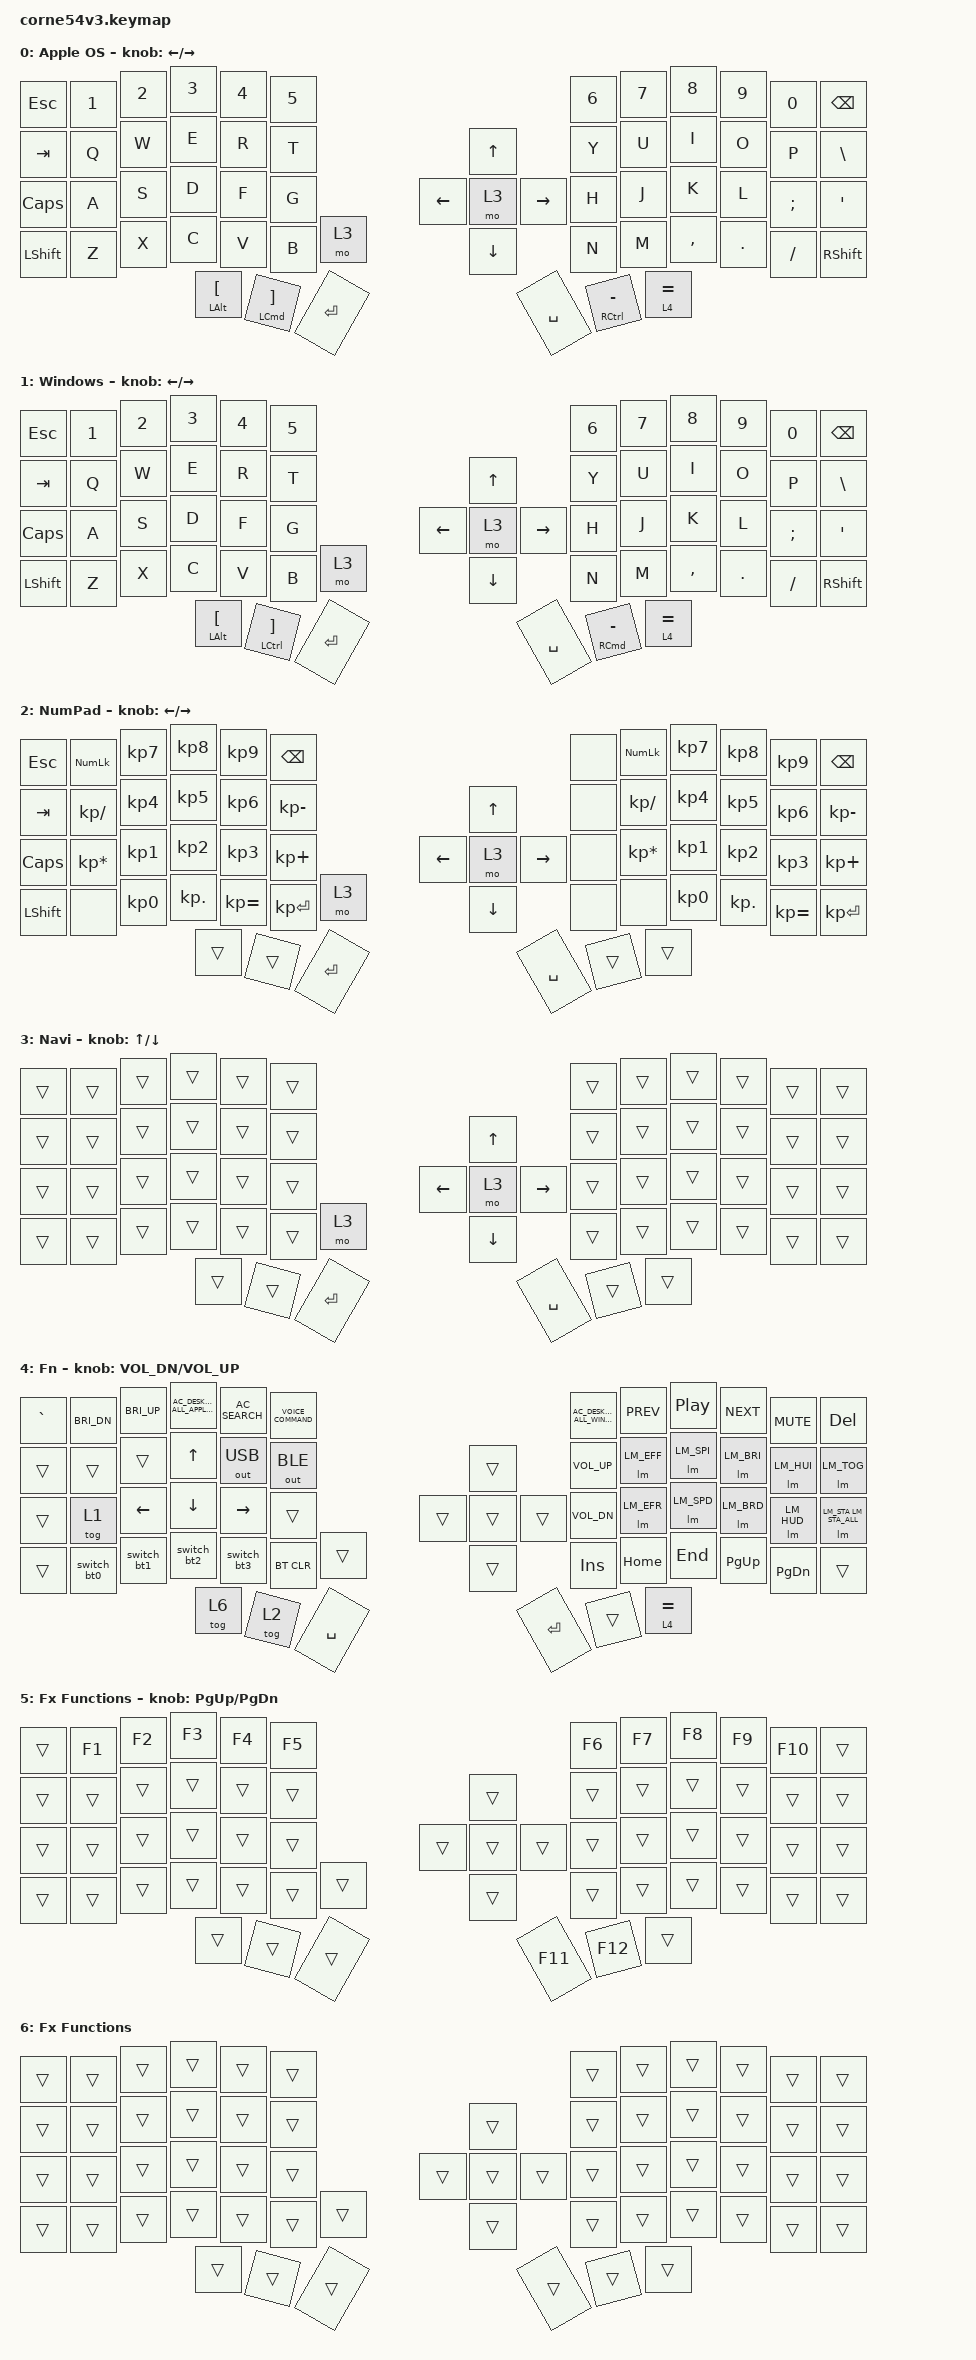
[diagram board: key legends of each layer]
#include <behaviors.dtsi>
#include <dt-bindings/zmk/keys.h>
#include <dt-bindings/zmk/bt.h>
#include <dt-bindings/zmk/led_matrix.h>
#include <dt-bindings/zmk/backlight.h>
#include <dt-bindings/zmk/outputs.h>

&mt {
    tapping-term-ms = <200>;
};

&lt {
    tapping-term-ms = <200>;
};

&kscan0 {
    debounce-press-ms = <5>;
    debounce-release-ms = <5>;
};

/ {

    /*
    behaviors {
        htlk: hold_tap_layer_key {
            compatible = "zmk,behavior-hold-tap";
            #binding-cells = <2>;
            tapping-term-ms = <200>;
            flavor = "tap-preferred";
            bindings = <&mo>, <&kp>;
        };
    };
    */

    conditional_layers {
        compatible = "zmk,conditional-layers";
        tri_layer {
            if-layers = <4 6>;
            then-layer = <5>;
        };
    };

    behaviors {
        tog_on: toggle_layer_on_only {
            compatible = "zmk,behavior-toggle-layer";
            #binding-cells = <1>;
            display-name = "Toggle Layer On";
            toggle-mode = "on";
        };

        tog_off: toggle_layer_off_only {
            compatible = "zmk,behavior-toggle-layer";
            #binding-cells = <1>;
            display-name = "Toggle Layer Off";
            toggle-mode = "off";
        };
    };

    macros {
        m_w_zoom_in: w_zoom_in_macro {
            compatible = "zmk,behavior-macro";
            #binding-cells = <0>;
            bindings =
                <&macro_press &kp LCTRL>,
                <&macro_tap &kp MINUS>,
                <&macro_release &kp LCTRL>;
        };

        m_w_zoom_out: w_zoom_out_macro {
            compatible = "zmk,behavior-macro";
            #binding-cells = <0>;
            bindings =
                <&macro_press &kp LCTRL>,
                <&macro_tap &kp EQUAL>,
                <&macro_release &kp LCTRL>;
        };

        m_zoom_in: zoom_in_macro {
            compatible = "zmk,behavior-macro";
            #binding-cells = <0>;
            bindings =
                <&macro_press &kp LCMD>,
                <&macro_tap &kp MINUS>,
                <&macro_release &kp LCMD>;
        };

        m_zoom_out: zoom_out_macro {
            compatible = "zmk,behavior-macro";
            #binding-cells = <0>;
            bindings =
                <&macro_press &kp LCMD>,
                <&macro_tap &kp EQUAL>,
                <&macro_release &kp LCMD>;
        };

        switch_bt0: switch_to_bt_profile_0 {
            compatible = "zmk,behavior-macro";
            #binding-cells = <0>;
            bindings = <&bt BT_SEL 0>, <&tog_off 1>;
        };

        switch_bt1: switch_to_bt_profile_1 {
            compatible = "zmk,behavior-macro";
            #binding-cells = <0>;
            bindings = <&bt BT_SEL 1>, <&tog_on 1>;
        };

        switch_bt2: switch_to_bt_profile_2 {
            compatible = "zmk,behavior-macro";
            #binding-cells = <0>;
            bindings = <&bt BT_SEL 2>, <&tog_off 1>;
        };

        switch_bt3: switch_to_bt_profile_3 {
            compatible = "zmk,behavior-macro";
            #binding-cells = <0>;
            bindings = <&bt BT_SEL 3>, <&tog_on 1>;
        };

        switch_bt4: switch_to_bt_profile_4 {
            compatible = "zmk,behavior-macro";
            #binding-cells = <0>;
            bindings = <&bt BT_SEL 4>, <&tog_off 1>;
        };
    };

    behaviors {
        zoom_in_out: rotate_zoom_in_out {
            compatible = "zmk,behavior-sensor-rotate";
            #sensor-binding-cells = <0>;
            bindings =
                <&m_zoom_in>,
                <&m_zoom_out>;
        };

        w_zoom_in_out: rotate_w_zoom_in_out {
            compatible = "zmk,behavior-sensor-rotate";
            #sensor-binding-cells = <0>;
            bindings =
                <&m_w_zoom_in>,
                <&m_w_zoom_out>;
        };
    };

    behaviors {
        gresc: grave_escape {
            compatible = "zmk,behavior-mod-morph";
            #binding-cells = <0>;
            bindings = <&kp ESC>, <&kp GRAVE>;
            mods = <(MOD_LSFT | MOD_RSFT)>;
        };
    };

    keymap {
        compatible = "zmk,keymap";

        default_layer {
            display-name = "Apple OS";
            //0
            bindings = <
                &kp ESC   &kp N1      &kp N2      &kp N3      &kp N4       &kp N5                                     &kp N6      &kp N7      &kp N8    &kp N9   &kp N0   &kp BSPC
                &kp TAB   &kp Q       &kp W       &kp E       &kp R        &kp T                    &kp UP            &kp Y       &kp U       &kp I     &kp O    &kp P    &kp BSLH
                &kp CAPS  &kp A       &kp S       &kp D       &kp F        &kp G           &kp LEFT &mo 3 &kp RIGHT   &kp H       &kp J       &kp K     &kp L    &kp SEMI &kp SQT
                &kp LSHFT &kp Z       &kp X       &kp C       &kp V        &kp B  &mo 3             &kp DOWN          &kp N       &kp M       &kp COMMA &kp DOT  &kp FSLH &kp RSHFT
                                                  &mt LALT LBKT &mt LCMD RBKT &kp ENTER                               &kp SPACE   &mt RCTRL MINUS   &lt 4 EQUAL
            >;

            sensor-bindings = <&inc_dec_kp LEFT RIGHT>;
        };

        win_layer {
            display-name = "Windows";
            //1
            bindings = <
                &kp ESC   &kp N1      &kp N2      &kp N3      &kp N4       &kp N5                                     &kp N6      &kp N7      &kp N8    &kp N9   &kp N0   &kp BSPC
                &kp TAB   &kp Q       &kp W       &kp E       &kp R        &kp T                    &kp UP            &kp Y       &kp U       &kp I     &kp O    &kp P    &kp BSLH
                &kp CAPS  &kp A       &kp S       &kp D       &kp F        &kp G           &kp LEFT &mo 3 &kp RIGHT   &kp H       &kp J       &kp K     &kp L    &kp SEMI &kp SQT
                &kp LSHFT &kp Z       &kp X       &kp C       &kp V        &kp B  &mo 3             &kp DOWN          &kp N       &kp M       &kp COMMA &kp DOT  &kp FSLH &kp RSHFT
                                                  &mt LALT LBKT &mt LCTRL RBKT &kp ENTER                              &kp SPACE   &mt RCMD MINUS   &lt 4 EQUAL
            >;

            sensor-bindings = <&inc_dec_kp LEFT RIGHT>;
        };

        numpad_layer {
            display-name = "NumPad";
            //2
            bindings = <
                &kp ESC   &kp KP_NLCK     &kp KP_N7 &kp KP_N8   &kp KP_N9      &kp BSPC                                       &none  &kp KP_NLCK     &kp KP_N7 &kp KP_N8   &kp KP_N9      &kp BSPC
                &kp TAB   &kp KP_DIVIDE   &kp KP_N4 &kp KP_N5   &kp KP_N6      &kp KP_MINUS                   &kp UP          &none  &kp KP_DIVIDE   &kp KP_N4 &kp KP_N5   &kp KP_N6      &kp KP_MINUS
                &kp CAPS  &kp KP_MULTIPLY &kp KP_N1 &kp KP_N2   &kp KP_N3      &kp KP_PLUS          &kp LEFT &mo 3 &kp RIGHT  &none  &kp KP_MULTIPLY &kp KP_N1 &kp KP_N2   &kp KP_N3      &kp KP_PLUS
                &kp LSHFT &none           &kp KP_N0 &kp KP_DOT  &kp KP_EQUAL   &kp KP_ENTER  &mo 3            &kp DOWN        &none  &none           &kp KP_N0 &kp KP_DOT  &kp KP_EQUAL   &kp KP_ENTER
                                                    &trans      &trans         &kp ENTER                                      &kp SPACE    &trans      &trans
            >;

            sensor-bindings = <&inc_dec_kp LEFT RIGHT>;
        };

        navi_layer {
            display-name = "Navi";
            //3
            bindings = <
                &trans   &trans      &trans      &trans      &trans       &trans                                   &trans      &trans      &trans   &trans   &trans   &trans
                &trans   &trans      &trans      &trans      &trans       &trans                  &kp UP           &trans      &trans      &trans   &trans   &trans   &trans
                &trans   &trans      &trans      &trans      &trans       &trans         &kp LEFT &mo 3 &kp RIGHT  &trans      &trans      &trans   &trans   &trans   &trans
                &trans   &trans      &trans      &trans      &trans       &trans &mo 3            &kp DOWN         &trans      &trans      &trans   &trans   &trans   &trans
                                                 &trans      &trans       &kp ENTER                                &kp SPACE   &trans      &trans
            >;

            sensor-bindings = <&inc_dec_kp UP DOWN>;
        };

        fn_layer {
            display-name = "Fn";
            //4
            bindings = <
                &kp GRAVE &kp C_BRI_DN &kp C_BRI_UP  &kp C_AC_DESKTOP_SHOW_ALL_APPLICATIONS &kp C_AC_SEARCH &kp C_VOICE_COMMAND                              &kp C_AC_DESKTOP_SHOW_ALL_WINDOWS &kp C_PREV &kp C_PP &kp C_NEXT &kp C_MUTE &kp DEL
                &trans    &trans       &trans        &kp UP                                 &out OUT_USB    &out OUT_BLE                    &trans           &kp C_VOL_UP &lm LM_EFF &lm LM_SPI &lm LM_BRI &lm LM_HUI &lm LM_TOG
                &trans    &tog 1       &kp LEFT      &kp DOWN                               &kp RIGHT       &trans                  &trans &trans &trans     &kp C_VOL_DN &lm LM_EFR &lm LM_SPD &lm LM_BRD &lm LM_HUD &lm LM_STA LM_STA_ALL
                &trans    &switch_bt0  &switch_bt1   &switch_bt2                            &switch_bt3     &bt BT_CLR  &trans              &trans           &kp INS      &kp HOME   &kp END    &kp PG_UP  &kp PG_DN  &trans
                                                     &tog 6                                 &tog 2          &kp SPACE                                        &kp ENTER    &trans     &lt 4 EQUAL
            >;

            sensor-bindings = <&inc_dec_kp C_VOL_DN C_VOL_UP>;
        };

        fx_layer {
            display-name = "Fx Functions";
            //5
            bindings = <
                &trans    &kp F1      &kp F2      &kp F3      &kp F4       &kp F5                                 &kp F6  &kp F7      &kp F8      &kp F9  &kp F10 &trans
                &trans    &trans      &trans      &trans      &trans       &trans                 &trans          &trans  &trans      &trans      &trans  &trans  &trans
                &trans    &trans      &trans      &trans      &trans       &trans         &trans  &trans &trans   &trans  &trans      &trans      &trans  &trans  &trans
                &trans    &trans      &trans      &trans      &trans       &trans  &trans         &trans          &trans  &trans      &trans      &trans  &trans  &trans
                                                  &trans      &trans       &trans                                 &kp F11 &kp F12     &trans
            >;

            sensor-bindings = <&inc_dec_kp PAGE_UP PAGE_DOWN>;
        };

        fxFun_layer {
            display-name = "Fx Functions";
            //6
            bindings = <
                &trans    &trans      &trans      &trans      &trans       &trans                                 &trans  &trans      &trans      &trans  &trans  &trans
                &trans    &trans      &trans      &trans      &trans       &trans                 &trans          &trans  &trans      &trans      &trans  &trans  &trans
                &trans    &trans      &trans      &trans      &trans       &trans         &trans  &trans &trans   &trans  &trans      &trans      &trans  &trans  &trans
                &trans    &trans      &trans      &trans      &trans       &trans  &trans         &trans          &trans  &trans      &trans      &trans  &trans  &trans
                                                    &trans      &trans       &trans                               &trans  &trans      &trans
            >;
        };
    };
};
